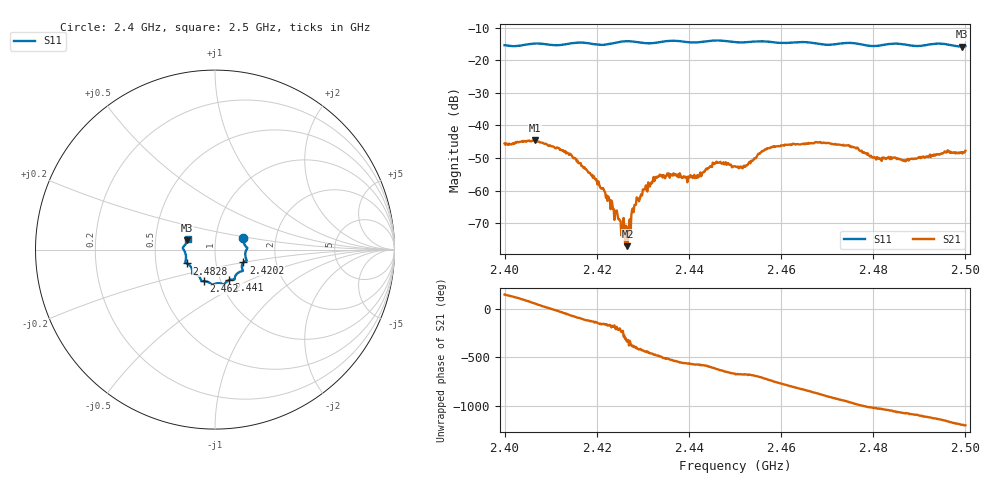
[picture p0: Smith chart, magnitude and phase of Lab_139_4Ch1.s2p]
# Hz S RI R 50
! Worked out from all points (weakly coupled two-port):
!   601 points, 2.4 GHz to 2.5 GHz, reference 50 ohm
!   highest |S21| = -44.46 dB at 2.4067 GHz (marker M1); lowest = -77.1 dB at 2.4267 GHz (marker M2)
!   lowest |S11| = -15.8 dB at 2.4993 GHz (marker M3), VSWR 1.39, Z = 36.5 + j3.9 ohm
!   |S11| at or under -10 dB: start of sweep to end of sweep
!   S12 and S22 are empty: the file has one direction only
!   S11 on the Smith chart (normalised r, x): 2.4 GHz: 1.36, +0.17; 2.4202 GHz: 1.36, -0.20; 2.441 GHz: 1.10, -0.39; 2.462 GHz: 0.83, -0.30; 2.4828 GHz: 0.72, -0.11; 2.5 GHz: 0.73, +0.09
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2.4e9  0.1581 0.0619  -0.00436 0.00294  0 0  0 0
2.406667e9  0.1801 0.00986  0.00361 0.00477  0 0  0 0
2.414e9  0.1726 -0.0494  0.00158 -0.00315  0 0  0 0
2.416667e9  0.1769 -0.0605  -0.00057 -0.00231  0 0  0 0
2.420167e9  0.1579 -0.0718  -0.00103 -0.000679  0 0  0 0
2.4245e9  0.1531 -0.1106  -0.00037 0.000202  0 0  0 0
2.425667e9  0.1556 -0.1162  -0.000158 0.000173  0 0  0 0
2.426667e9  0.1561 -0.1183  0.00013 5.06e-05  0 0  0 0
2.428667e9  0.1475 -0.1205  0.000508 -0.000597  0 0  0 0
2.433333e9  0.1118 -0.151  -0.000834 -0.00139  0 0  0 0
2.441e9  0.0781 -0.1702  -0.00141 0.00087  0 0  0 0
2.445667e9  0.0508 -0.1944  -0.000746 0.00248  0 0  0 0
2.45e9  0.0278 -0.1876  0.00148 0.00184  0 0  0 0
2.452167e9  0.00628 -0.1886  0.00169 0.00155  0 0  0 0
2.457e9  -0.0202 -0.1923  0.00444 -0.000495  0 0  0 0
2.462e9  -0.061 -0.1756  0.00111 -0.005  0 0  0 0
2.466667e9  -0.0787 -0.1678  -0.00384 -0.00368  0 0  0 0
2.474333e9  -0.1261 -0.1345  -0.00279 0.00405  0 0  0 0
2.482833e9  -0.1572 -0.0769  0.00237 0.00193  0 0  0 0
2.483333e9  -0.1602 -0.0755  0.00263 0.00197  0 0  0 0
2.499333e9  -0.154 0.052  -0.00157 -0.00334  0 0  0 0
2.5e9  -0.1525 0.0613  -0.00205 -0.00353  0 0  0 0
